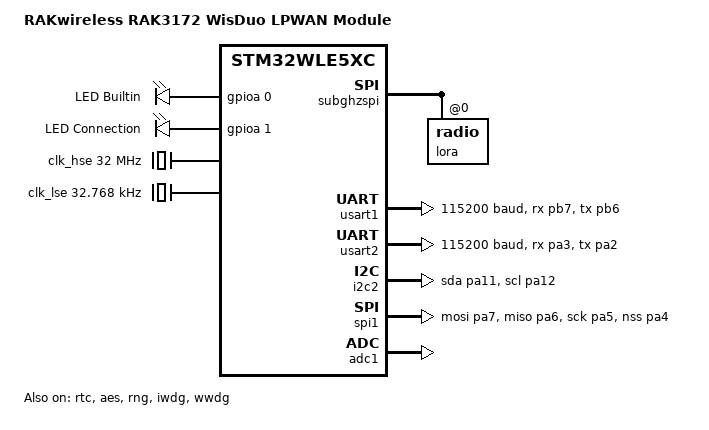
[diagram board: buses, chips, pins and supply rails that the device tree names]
/dts-v1/;
#include <st/wl/stm32wle5Xc.dtsi>
#include <st/wl/stm32wle5ccux-pinctrl.dtsi>

/ {
    model = "RAKwireless RAK3172 WisDuo LPWAN Module";
    compatible = "rakwireless,rak3172";

    chosen {
        zephyr,console = &usart2;
        zephyr,shell-uart = &usart2;
        zephyr,sram = &sram0;   // define in stm32wle5Xc.dtsi
        zephyr,flash = &flash0;
        zephyr,code-partition = &slot0_partition;
    };

    aliases {
        led0 = &led_green;
        led1 = &led_blue;
        lora0 = &lora;
        watchdog0 = &iwdg;
    };

    leds {
        compatible = "gpio-leds";

        led_green: led_0 {
            gpios = <&gpioa 0 GPIO_ACTIVE_HIGH>;
            label = "LED Builtin";
        };

        led_blue: led_1 {
            gpios = <&gpioa 1 GPIO_ACTIVE_HIGH>;
            label = "LED Connection";
        };
    };
};

/*
 * Config Peripheral
 */

&subghzspi { // define in stm32wl.dtsi
    status = "okay";

    lora: radio@0 {
        status = "okay";
        power-amplifier-output = "rfo-hp";  // using high power amplifier

        rfo-lp-max-power = <15>;
        rfo-hp-max-power = <22>;

        /* remove annotation to enable debug gpio. */
        // reset-gpios = <&gpioa 11 GPIO_ACTIVE_LOW>;  // RF_NRESET
        // busy-gpios = <&gpioa 12 GPIO_ACTIVE_HIGH>;  // RF_BUSY
        // dio1-gpios = <&gpiob 5 GPIO_ACTIVE_HIGH>;   // RF_IRQ1
    };
};

&usart1 { // GPIO UART 1
    status = "okay";
    pinctrl-0 = <&usart1_rx_pb7 &usart1_tx_pb6>;    // define in stm32wle5ccux-pinctrl.dtsi
    pinctrl-names = "default";
    current-speed = <115200>;
};

&usart2 { // CH340E USB-C Serial Interface
    status = "okay";
    pinctrl-0 = <&usart2_rx_pa3 &usart2_tx_pa2>;    // define in stm32wle5ccux-pinctrl.dtsi
    pinctrl-names = "default";
    current-speed = <115200>;
};

&i2c2 {
    status = "okay";
    pinctrl-0 = <&i2c2_sda_pa11 &i2c2_scl_pa12>;    // define in stm32wle5ccux-pinctrl.dtsi
    pinctrl-names = "default";
};

&spi1 {
    status = "okay";
    /* define in stm32wle5ccux-pinctrl.dtsi */
    pinctrl-0 = <
        &spi1_mosi_pa7
        &spi1_miso_pa6
        &spi1_sck_pa5
        &spi1_nss_pa4
    >;
    pinctrl-names = "default";
};

&adc1 {
    status = "okay";
    // pinctrl-0 = <&adc_in11_pa15>, <&adc_in6_pa10>, <&adc_in4_pb2>, <&adc_in3_pb4>, <&adc_in2_pb3>;
    // pinctrl-names = "default";
    st,adc-clock-source = <SYNC>;
    st,adc-prescaler = <1>;
};

/*
 *  Config internal module
 */

&rtc {
    status = "okay";
    clocks = <&rcc STM32_CLOCK_BUS_APB1 0x00000400>,    // Enable bus clock first
             <&rcc STM32_SRC_LSE RTC_SEL(1)>;           // Use LSE clock replace it
};

&aes {
    status = "okay";
};

&rng {
    status = "okay";
    clocks = <&rcc STM32_CLOCK_BUS_AHB3 0x00040000>,    // Enable bus clock first
             <&rcc STM32_SRC_PLL_Q RNG_SEL(2)>;         // Use PLL-Q clock replace it
};

&iwdg {
	status = "okay";
};

&wwdg {
    status = "okay";
};

/*
 * Config System clock
 * use external clock prepare by RAK
 */

&clk_hse {  // define in stm32wl.dtsi
    status = "okay";
    clock-frequency = <DT_FREQ_M(32)>;
    // hse-div2; // remove annotation to enable
};

&clk_lse {  // define in stm32wl.dtsi
    status = "okay";
    clock-frequency = <32768>;
};

&pll {  // define in stm32wl.dtsi
    status = "okay";
    clocks = <&clk_hse>;
    div-m = <2>;    //First div by 2 (Input)
    mul-n = <6>;    //Then mul by 6
    div-p = <2>;    //From mul, div by 2 (PLLP)
    div-q = <2>;    //From mul, div by 2 (PLLQ)
    div-r = <2>;    //From mul, div by 2 (PLLCLK)
};

/*
 * Config reset and clock controller
 * CPU / AHB / APB clock
 */

&rcc {  // define in stm32wl.dtsi
    status = "okay";
    clocks = <&pll>;
    clock-frequency = <DT_FREQ_M(48)>;  // SYSCLK = 48MHz
    cpu1-prescaler = <1>;   // HCLK1 = SYSCLK/1 = 48MHz
    ahb3-prescaler = <1>;   // HCLK3 = SYSCLK/1 = 48MHz
    apb1-prescaler = <1>;   // PCLK1 = HCLK1/1 = 48MHz
    apb2-prescaler = <1>;   // PCLK2 = HCLK1/1 = 48MHz
};

/*
 * Config flash partition
 */

&flash0 {   // define in stm32wle5Xc.dtsi
    partitions {
        compatible = "fixed-partitions";
        #address-cells = <1>;
        #size-cells = <1>;

        boot_partition: partition@0 {
            label = "mcuboot";
            reg = <0x00000000 DT_SIZE_K(32)>;  // 32 KB
            read-only;
        };

        slot0_partition: partition@8000 {
            label = "image-0";
            reg = <0x00008000 DT_SIZE_K(96)>;  // 96 KB
        };

        slot1_partition: partition@20000 {
            label = "image-1";
            reg = <0x00020000 DT_SIZE_K(96)>;  // 96 KB
        };

        storage_partition: partition@38000 {
            label = "storage";
            reg = <0x00038000 DT_SIZE_K(32)>;  // 32 KB
        };
    };
};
